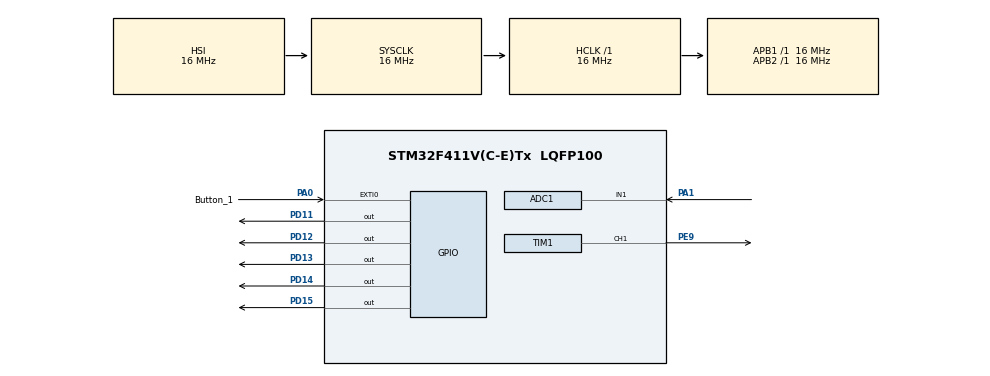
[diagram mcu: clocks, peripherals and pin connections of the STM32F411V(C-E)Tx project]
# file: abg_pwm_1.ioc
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ADC1.Channel-0\#ChannelRegularConversion=ADC_CHANNEL_1
ADC1.NbrOfConversionFlag=1
ADC1.Rank-0\#ChannelRegularConversion=1
ADC1.Resolution=ADC_RESOLUTION_8B
ADC1.SamplingTime-0\#ChannelRegularConversion=ADC_SAMPLETIME_3CYCLES
ADC1.master=1
Mcu.Family=STM32F4
Mcu.Name=STM32F411V(C-E)Tx
Mcu.Package=LQFP100
NVIC.EXTI0_IRQn=true\:0\:0\:false\:false\:true\:true
NVIC.PriorityGroup=NVIC_PRIORITYGROUP_4
PA0-WKUP.GPIO_Label=Button_1
PA0-WKUP.Signal=GPXTI0
PA1.Signal=ADCx_IN1
PD11.Signal=GPIO_Output
PD12.Signal=GPIO_Output
PD13.Signal=GPIO_Output
PD14.Signal=GPIO_Output
PD15.Signal=GPIO_Output
PE9.Signal=S_TIM1_CH1
ProjectManager.HeapSize=0x200
ProjectManager.StackSize=0x400
ProjectManager.TargetToolchain=MDK-ARM V5
RCC.AHBFreq_Value=16000000
RCC.APB1Freq_Value=16000000
RCC.APB2Freq_Value=16000000
RCC.CortexFreq_Value=16000000
RCC.HSE_VALUE=25000000
RCC.HSI_VALUE=16000000
RCC.LSE_VALUE=32768
RCC.SYSCLKFreq_VALUE=16000000
RCC.VCOOutputFreq_Value=192000000
SH.ADCx_IN1.0=ADC1_IN1,IN1
SH.S_TIM1_CH1.0=TIM1_CH1,PWM Generation1 CH1
TIM1.Channel-PWM\ Generation1\ CH1=TIM_CHANNEL_1
TIM1.Period=100
TIM1.Prescaler=16000
TIM4.Period=100
TIM4.Prescaler=16
VP_TIM1_VS_ClockSourceINT.Mode=Internal
VP_TIM4_VS_ClockSourceINT.Mode=Internal
board=custom

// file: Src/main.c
/**
  ******************************************************************************
  * @file           : main.c
  * @brief          : Main program body
  ******************************************************************************
  ** This notice applies to any and all portions of this file
  * that are not between comment pairs USER CODE BEGIN and
  * USER CODE END. Other portions of this file, whether
  * inserted by the user or by software development tools
  * are owned by their respective copyright owners.
  *
  * COPYRIGHT(c) 2018 STMicroelectronics
  *
  * Redistribution and use in source and binary forms, with or without modification,
  * are permitted provided that the following conditions are met:
  *   1. Redistributions of source code must retain the above copyright notice,
  *      this list of conditions and the following disclaimer.
  *   2. Redistributions in binary form must reproduce the above copyright notice,
  *      this list of conditions and the following disclaimer in the documentation
  *      and/or other materials provided with the distribution.
  *   3. Neither the name of STMicroelectronics nor the names of its contributors
  *      may be used to endorse or promote products derived from this software
  *      without specific prior written permission.
  *
  * THIS SOFTWARE IS PROVIDED BY THE COPYRIGHT HOLDERS AND CONTRIBUTORS "AS IS"
  * AND ANY EXPRESS OR IMPLIED WARRANTIES, INCLUDING, BUT NOT LIMITED TO, THE
  * IMPLIED WARRANTIES OF MERCHANTABILITY AND FITNESS FOR A PARTICULAR PURPOSE ARE
  * DISCLAIMED. IN NO EVENT SHALL THE COPYRIGHT HOLDER OR CONTRIBUTORS BE LIABLE
  * FOR ANY DIRECT, INDIRECT, INCIDENTAL, SPECIAL, EXEMPLARY, OR CONSEQUENTIAL
  * DAMAGES (INCLUDING, BUT NOT LIMITED TO, PROCUREMENT OF SUBSTITUTE GOODS OR
  * SERVICES; LOSS OF USE, DATA, OR PROFITS; OR BUSINESS INTERRUPTION) HOWEVER
  * CAUSED AND ON ANY THEORY OF LIABILITY, WHETHER IN CONTRACT, STRICT LIABILITY,
  * OR TORT (INCLUDING NEGLIGENCE OR OTHERWISE) ARISING IN ANY WAY OUT OF THE USE
  * OF THIS SOFTWARE, EVEN IF ADVISED OF THE POSSIBILITY OF SUCH DAMAGE.
  *
  ******************************************************************************
  */
#include "main.h"
#include "stm32f4xx_hal.h"

ADC_HandleTypeDef hadc1;

TIM_HandleTypeDef htim1;
TIM_HandleTypeDef htim4;

/* USER CODE BEGIN PV */
/* Private variables ---------------------------------------------------------*/

/* USER CODE END PV */

void SystemClock_Config(void);
static void MX_GPIO_Init(void);
static void MX_TIM4_Init(void);
static void MX_TIM1_Init(void);
static void MX_ADC1_Init(void);

void HAL_TIM_MspPostInit(TIM_HandleTypeDef *htim);

/* USER CODE BEGIN PFP */
/* Private function prototypes -----------------------------------------------*/

/* USER CODE END PFP */

/* USER CODE BEGIN 0 */
volatile int aux=0;
volatile int bouncer=0;
volatile int bouncerON=0;
volatile int threshold=70000;
volatile int counter=0;
volatile int tiemporeaccion=0;
volatile int luz=0;
volatile int retardo=0;
volatile int autom=0;

__IO uint16_t ADCValue=0;
void HAL_ADC_ConvCpltCallback(ADC_HandleTypeDef* hadc);

//Interrupcion
void HAL_GPIO_EXTI_Callback(uint16_t GPIO_Pin){

	if (bouncerON==0){
		bouncerON=1;
		if (GPIO_Pin==GPIO_PIN_0)
		{
			if (aux==0) aux=1;
			else if(aux==1) aux=2;
			else if(aux==2) aux=3;
			else if(aux==3) aux=4;
			else if(aux==4) aux=5;
			else if(aux==5) aux=6;
			else if(aux==6) aux=0;
		}
	}
}
/* USER CODE END 0 */

int main(void)
{
  /* USER CODE BEGIN 1 */
	aux=0;
  /* USER CODE END 1 */

  /* MCU Configuration----------------------------------------------------------*/

  /* Reset of all peripherals, Initializes the Flash interface and the Systick. */
  HAL_Init();

  /* Configure the system clock */
  SystemClock_Config();

  /* Initialize all configured peripherals */
  MX_GPIO_Init();
  MX_TIM4_Init();
  MX_TIM1_Init();
  MX_ADC1_Init();
  /* USER CODE BEGIN 2 */
	HAL_TIM_PWM_Start(&htim1, TIM_CHANNEL_1);
  HAL_TIM_PWM_Start(&htim4, TIM_CHANNEL_1);
  /* USER CODE END 2 */

  /* Infinite loop */
  while (1)
  {

  /* USER CODE BEGIN 3 */

		//Lectura NTC
			HAL_ADC_Start(&hadc1);
	if (HAL_ADC_PollForConversion(&hadc1, HAL_MAX_DELAY) == HAL_OK)
	{
     ADCValue = HAL_ADC_GetValue(&hadc1);
  }
	HAL_ADC_Stop(&hadc1);

		//Antibouncing
		if (bouncerON==1)
			{
				bouncer++;
				HAL_NVIC_DisableIRQ(EXTI0_IRQn);
			}
		if(bouncer>threshold)
			{
				HAL_NVIC_EnableIRQ(EXTI0_IRQn);
				bouncerON=0;
				bouncer=0;
			}
		retardo++;

			HAL_GPIO_WritePin(GPIOD, GPIO_PIN_11, GPIO_PIN_SET);
		__HAL_TIM_SET_COMPARE(&htim1, TIM_CHANNEL_1, ADCValue);
			//ESTADOS
//		if(aux==0){ //Modo rápido
//			HAL_GPIO_WritePin(GPIOD, GPIO_PIN_12, GPIO_PIN_SET);
//			HAL_GPIO_WritePin(GPIOD, GPIO_PIN_14, GPIO_PIN_RESET);
//			HAL_GPIO_WritePin(GPIOD, GPIO_PIN_11, GPIO_PIN_SET);//Marcha alante
//		//	__HAL_TIM_SET_COMPARE(&htim4, TIM_CHANNEL_1, 255); //sets the PWM duty cycle (Capture Compare Value)
//			__HAL_TIM_SET_COMPARE(&htim1, TIM_CHANNEL_1, 10);
//		}
//		else if(aux==1){ //Modo normal
//			HAL_GPIO_WritePin(GPIOD, GPIO_PIN_15, GPIO_PIN_SET);
//			HAL_GPIO_WritePin(GPIOD, GPIO_PIN_11, GPIO_PIN_SET);//Marcha alante
//	//		__HAL_TIM_SET_COMPARE(&htim4, TIM_CHANNEL_1, 90); //sets the PWM duty cycle (Capture Compare Value)
//			__HAL_TIM_SET_COMPARE(&htim1, TIM_CHANNEL_1,50);
//		}
//		else if(aux==2){ //Modo lento
//			HAL_GPIO_WritePin(GPIOD, GPIO_PIN_13, GPIO_PIN_SET);
//			HAL_GPIO_WritePin(GPIOD, GPIO_PIN_11, GPIO_PIN_SET);//Marcha alante
//	//		__HAL_TIM_SET_COMPARE(&htim4, TIM_CHANNEL_1, 50); //sets the PWM duty cycle (Capture Compare Value)
//			__HAL_TIM_SET_COMPARE(&htim1, TIM_CHANNEL_1, 90);
//		}
//			else if(aux==3){ //Modo rápido
//			HAL_GPIO_WritePin(GPIOD, GPIO_PIN_13, GPIO_PIN_RESET);
//			HAL_GPIO_WritePin(GPIOD, GPIO_PIN_15, GPIO_PIN_RESET);
//			HAL_GPIO_WritePin(GPIOD, GPIO_PIN_11, GPIO_PIN_RESET);//Marcha atrás
//		//	__HAL_TIM_SET_COMPARE(&htim4, TIM_CHANNEL_1, 255); //sets the PWM duty cycle (Capture Compare Value)
//			__HAL_TIM_SET_COMPARE(&htim1, TIM_CHANNEL_1, 90);
//		}
//		else if(aux==4){ //Modo normal
//			HAL_GPIO_WritePin(GPIOD, GPIO_PIN_15, GPIO_PIN_SET);
//			HAL_GPIO_WritePin(GPIOD, GPIO_PIN_11, GPIO_PIN_RESET);//Marcha atrás
//		//	__HAL_TIM_SET_COMPARE(&htim4, TIM_CHANNEL_1, 150); //sets the PWM duty cycle (Capture Compare Value)
//			__HAL_TIM_SET_COMPARE(&htim1, TIM_CHANNEL_1, 50);
//		}
//		else if(aux==5){ //Modo lento
//			HAL_GPIO_WritePin(GPIOD, GPIO_PIN_13, GPIO_PIN_SET);
//			HAL_GPIO_WritePin(GPIOD, GPIO_PIN_11, GPIO_PIN_RESET);//Marcha atrás
//		//	__HAL_TIM_SET_COMPARE(&htim4, TIM_CHANNEL_1, 50); //sets the PWM duty cycle (Capture Compare Value)
//			__HAL_TIM_SET_COMPARE(&htim1, TIM_CHANNEL_1, 10);
//		}
//		else{ //Modo parada
//			HAL_GPIO_WritePin(GPIOD, GPIO_PIN_14, GPIO_PIN_SET);
//			HAL_GPIO_WritePin(GPIOD, GPIO_PIN_12, GPIO_PIN_RESET);
//			HAL_GPIO_WritePin(GPIOD, GPIO_PIN_13, GPIO_PIN_RESET);
//			HAL_GPIO_WritePin(GPIOD, GPIO_PIN_15, GPIO_PIN_RESET);
//			HAL_GPIO_WritePin(GPIOD, GPIO_PIN_11, GPIO_PIN_RESET);//Marcha atrás
//			__HAL_TIM_SET_COMPARE(&htim4, TIM_CHANNEL_1, 0); //sets the PWM duty cycle (Capture Compare Value)
//			__HAL_TIM_SET_COMPARE(&htim1, TIM_CHANNEL_1, 0);
//
//		}
  /* USER CODE END 3 */
	}
}

void SystemClock_Config(void)
{

  RCC_OscInitTypeDef RCC_OscInitStruct;
  RCC_ClkInitTypeDef RCC_ClkInitStruct;

    /**Configure the main internal regulator output voltage
    */
  __HAL_RCC_PWR_CLK_ENABLE();

  __HAL_PWR_VOLTAGESCALING_CONFIG(PWR_REGULATOR_VOLTAGE_SCALE1);

    /**Initializes the CPU, AHB and APB busses clocks
    */
  RCC_OscInitStruct.OscillatorType = RCC_OSCILLATORTYPE_HSI;
  RCC_OscInitStruct.HSIState = RCC_HSI_ON;
  RCC_OscInitStruct.HSICalibrationValue = 16;
  RCC_OscInitStruct.PLL.PLLState = RCC_PLL_NONE;
  if (HAL_RCC_OscConfig(&RCC_OscInitStruct) != HAL_OK)
  {
    _Error_Handler(__FILE__, __LINE__);
  }

    /**Initializes the CPU, AHB and APB busses clocks
    */
  RCC_ClkInitStruct.ClockType = RCC_CLOCKTYPE_HCLK|RCC_CLOCKTYPE_SYSCLK
                              |RCC_CLOCKTYPE_PCLK1|RCC_CLOCKTYPE_PCLK2;
  RCC_ClkInitStruct.SYSCLKSource = RCC_SYSCLKSOURCE_HSI;
  RCC_ClkInitStruct.AHBCLKDivider = RCC_SYSCLK_DIV1;
  RCC_ClkInitStruct.APB1CLKDivider = RCC_HCLK_DIV1;
  RCC_ClkInitStruct.APB2CLKDivider = RCC_HCLK_DIV1;

  if (HAL_RCC_ClockConfig(&RCC_ClkInitStruct, FLASH_LATENCY_0) != HAL_OK)
  {
    _Error_Handler(__FILE__, __LINE__);
  }

    /**Configure the Systick interrupt time
    */
  HAL_SYSTICK_Config(HAL_RCC_GetHCLKFreq()/1000);

    /**Configure the Systick
    */
  HAL_SYSTICK_CLKSourceConfig(SYSTICK_CLKSOURCE_HCLK);

  /* SysTick_IRQn interrupt configuration */
  HAL_NVIC_SetPriority(SysTick_IRQn, 0, 0);
}

/* ADC1 init function */
static void MX_ADC1_Init(void)
{

  ADC_ChannelConfTypeDef sConfig;

    /**Configure the global features of the ADC (Clock, Resolution, Data Alignment and number of conversion)
    */
  hadc1.Instance = ADC1;
  hadc1.Init.ClockPrescaler = ADC_CLOCK_SYNC_PCLK_DIV2;
  hadc1.Init.Resolution = ADC_RESOLUTION_8B;
  hadc1.Init.ScanConvMode = DISABLE;
  hadc1.Init.ContinuousConvMode = DISABLE;
  hadc1.Init.DiscontinuousConvMode = DISABLE;
  hadc1.Init.ExternalTrigConvEdge = ADC_EXTERNALTRIGCONVEDGE_NONE;
  hadc1.Init.ExternalTrigConv = ADC_SOFTWARE_START;
  hadc1.Init.DataAlign = ADC_DATAALIGN_RIGHT;
  hadc1.Init.NbrOfConversion = 1;
  hadc1.Init.DMAContinuousRequests = DISABLE;
  hadc1.Init.EOCSelection = ADC_EOC_SINGLE_CONV;
  if (HAL_ADC_Init(&hadc1) != HAL_OK)
  {
    _Error_Handler(__FILE__, __LINE__);
  }

    /**Configure for the selected ADC regular channel its corresponding rank in the sequencer and its sample time.
    */
  sConfig.Channel = ADC_CHANNEL_1;
  sConfig.Rank = 1;
  sConfig.SamplingTime = ADC_SAMPLETIME_3CYCLES;
  if (HAL_ADC_ConfigChannel(&hadc1, &sConfig) != HAL_OK)
  {
    _Error_Handler(__FILE__, __LINE__);
  }

}

/* TIM1 init function */
static void MX_TIM1_Init(void)
{

  TIM_ClockConfigTypeDef sClockSourceConfig;
  TIM_MasterConfigTypeDef sMasterConfig;
  TIM_OC_InitTypeDef sConfigOC;
  TIM_BreakDeadTimeConfigTypeDef sBreakDeadTimeConfig;

  htim1.Instance = TIM1;
  htim1.Init.Prescaler = 16000;
  htim1.Init.CounterMode = TIM_COUNTERMODE_UP;
  htim1.Init.Period = 100;
  htim1.Init.ClockDivision = TIM_CLOCKDIVISION_DIV1;
  htim1.Init.RepetitionCounter = 0;
  if (HAL_TIM_Base_Init(&htim1) != HAL_OK)
  {
    _Error_Handler(__FILE__, __LINE__);
  }

  sClockSourceConfig.ClockSource = TIM_CLOCKSOURCE_INTERNAL;
  if (HAL_TIM_ConfigClockSource(&htim1, &sClockSourceConfig) != HAL_OK)
  {
    _Error_Handler(__FILE__, __LINE__);
  }

  if (HAL_TIM_PWM_Init(&htim1) != HAL_OK)
  {
    _Error_Handler(__FILE__, __LINE__);
  }

  sMasterConfig.MasterOutputTrigger = TIM_TRGO_RESET;
  sMasterConfig.MasterSlaveMode = TIM_MASTERSLAVEMODE_DISABLE;
  if (HAL_TIMEx_MasterConfigSynchronization(&htim1, &sMasterConfig) != HAL_OK)
  {
    _Error_Handler(__FILE__, __LINE__);
  }

  sConfigOC.OCMode = TIM_OCMODE_PWM1;
  sConfigOC.Pulse = 0;
  sConfigOC.OCPolarity = TIM_OCPOLARITY_HIGH;
  sConfigOC.OCNPolarity = TIM_OCNPOLARITY_HIGH;
  sConfigOC.OCFastMode = TIM_OCFAST_DISABLE;
  sConfigOC.OCIdleState = TIM_OCIDLESTATE_RESET;
  sConfigOC.OCNIdleState = TIM_OCNIDLESTATE_RESET;
  if (HAL_TIM_PWM_ConfigChannel(&htim1, &sConfigOC, TIM_CHANNEL_1) != HAL_OK)
  {
    _Error_Handler(__FILE__, __LINE__);
  }

  sBreakDeadTimeConfig.OffStateRunMode = TIM_OSSR_DISABLE;
  sBreakDeadTimeConfig.OffStateIDLEMode = TIM_OSSI_DISABLE;
  sBreakDeadTimeConfig.LockLevel = TIM_LOCKLEVEL_OFF;
  sBreakDeadTimeConfig.DeadTime = 0;
  sBreakDeadTimeConfig.BreakState = TIM_BREAK_DISABLE;
  sBreakDeadTimeConfig.BreakPolarity = TIM_BREAKPOLARITY_HIGH;
  sBreakDeadTimeConfig.AutomaticOutput = TIM_AUTOMATICOUTPUT_DISABLE;
  if (HAL_TIMEx_ConfigBreakDeadTime(&htim1, &sBreakDeadTimeConfig) != HAL_OK)
  {
    _Error_Handler(__FILE__, __LINE__);
  }

  HAL_TIM_MspPostInit(&htim1);

}

/* TIM4 init function */
static void MX_TIM4_Init(void)
{

  TIM_ClockConfigTypeDef sClockSourceConfig;
  TIM_MasterConfigTypeDef sMasterConfig;

  htim4.Instance = TIM4;
  htim4.Init.Prescaler = 16;
  htim4.Init.CounterMode = TIM_COUNTERMODE_UP;
  htim4.Init.Period = 100;
  htim4.Init.ClockDivision = TIM_CLOCKDIVISION_DIV1;
  if (HAL_TIM_Base_Init(&htim4) != HAL_OK)
  {
    _Error_Handler(__FILE__, __LINE__);
  }

  sClockSourceConfig.ClockSource = TIM_CLOCKSOURCE_INTERNAL;
  if (HAL_TIM_ConfigClockSource(&htim4, &sClockSourceConfig) != HAL_OK)
  {
    _Error_Handler(__FILE__, __LINE__);
  }

  sMasterConfig.MasterOutputTrigger = TIM_TRGO_RESET;
  sMasterConfig.MasterSlaveMode = TIM_MASTERSLAVEMODE_DISABLE;
  if (HAL_TIMEx_MasterConfigSynchronization(&htim4, &sMasterConfig) != HAL_OK)
  {
    _Error_Handler(__FILE__, __LINE__);
  }

}

/** Configure pins as
        * Analog
        * Input
        * Output
        * EVENT_OUT
        * EXTI
*/
static void MX_GPIO_Init(void)
{

  GPIO_InitTypeDef GPIO_InitStruct;

  /* GPIO Ports Clock Enable */
  __HAL_RCC_GPIOA_CLK_ENABLE();
  __HAL_RCC_GPIOE_CLK_ENABLE();
  __HAL_RCC_GPIOD_CLK_ENABLE();

  /*Configure GPIO pin Output Level */
  HAL_GPIO_WritePin(GPIOD, GPIO_PIN_11|GPIO_PIN_12|GPIO_PIN_13|GPIO_PIN_14
                          |GPIO_PIN_15, GPIO_PIN_RESET);

  /*Configure GPIO pin : Button_1_Pin */
  GPIO_InitStruct.Pin = Button_1_Pin;
  GPIO_InitStruct.Mode = GPIO_MODE_IT_RISING;
  GPIO_InitStruct.Pull = GPIO_NOPULL;
  HAL_GPIO_Init(Button_1_GPIO_Port, &GPIO_InitStruct);

  /*Configure GPIO pins : PD11 PD12 PD13 PD14
                           PD15 */
  GPIO_InitStruct.Pin = GPIO_PIN_11|GPIO_PIN_12|GPIO_PIN_13|GPIO_PIN_14
                          |GPIO_PIN_15;
  GPIO_InitStruct.Mode = GPIO_MODE_OUTPUT_PP;
  GPIO_InitStruct.Pull = GPIO_NOPULL;
  GPIO_InitStruct.Speed = GPIO_SPEED_FREQ_LOW;
  HAL_GPIO_Init(GPIOD, &GPIO_InitStruct);

  /* EXTI interrupt init*/
  HAL_NVIC_SetPriority(EXTI0_IRQn, 0, 0);
  HAL_NVIC_EnableIRQ(EXTI0_IRQn);

}

void _Error_Handler(char *file, int line)
{
  while(1)
  {
  }
}

/************************ (C) COPYRIGHT STMicroelectronics *****END OF FILE****/
